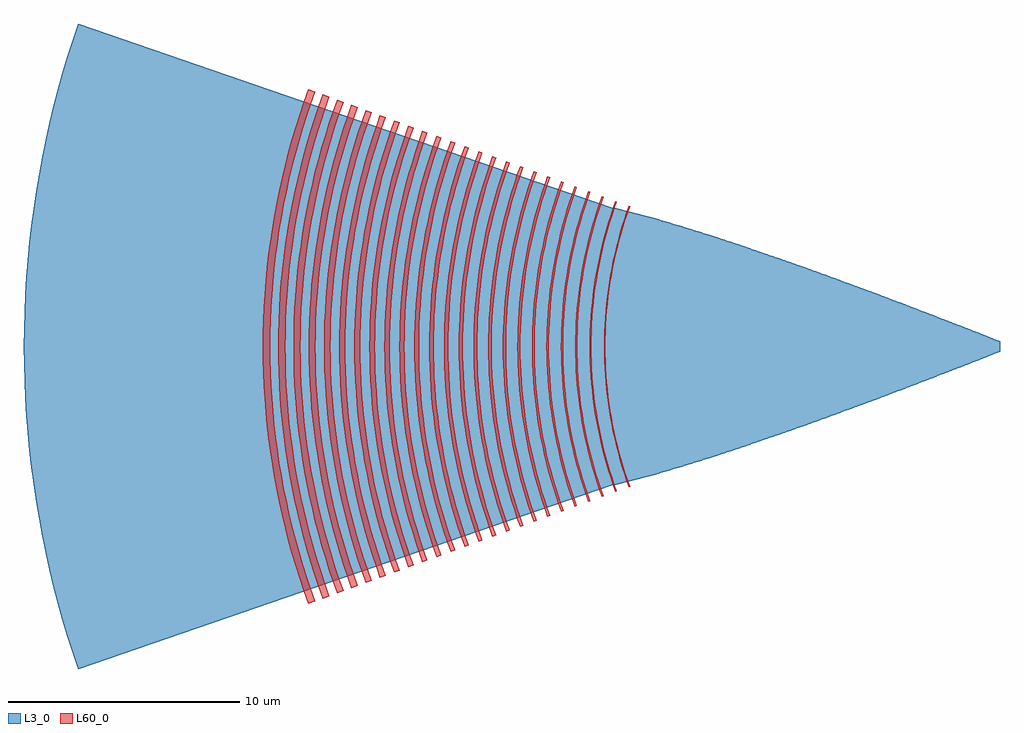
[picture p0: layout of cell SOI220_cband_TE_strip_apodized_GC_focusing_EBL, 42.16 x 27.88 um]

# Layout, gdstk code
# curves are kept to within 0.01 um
import gdstk
lib = gdstk.Library(unit=1e-6, precision=1e-09)
def P(c, l, *ps):  # polygons
    for p in ps: c.add(gdstk.Polygon(p, *l))
L3_0 = (3, 0)
L60_0 = (60, 0)

soi220_cband_te_strip_ap = lib.new_cell('SOI220_cband_TE_strip_apodized_GC_focusing_EBL')
P(soi220_cband_te_strip_ap, L3_0, [(-39.831,-13.94),(-40.293,-12.518),(-40.705,-11.082),(-41.067,-9.632),(-41.377,-8.17),(-41.514,-7.435),(-41.637,-6.698),(-41.845,-5.218),(-42.001,-3.732),(-42.06,-2.987),(-42.138,-1.494),(-42.164,0),(-42.138,1.494),(-42.06,2.987),(-42.001,3.732),(-41.845,5.218),(-41.637,6.698),(-41.514,7.435),(-41.377,8.17),(-41.067,9.632),(-40.705,11.082),(-40.293,12.518),(-39.831,13.94),(-16.745,5.99),(-16.326,5.908),(-15.74,5.764),(-14.065,5.29),(-12.307,4.739),(-9.963,3.952),(-8.121,3.303),(-5.442,2.322),(-2.763,1.305),(0,0.225),(0,-0.225),(-4.521,-1.976),(-6.614,-2.756),(-8.707,-3.512),(-11.386,-4.435),(-13.563,-5.137),(-15.572,-5.72),(-16.326,-5.908),(-16.745,-5.99)])
P(soi220_cband_te_strip_ap, L60_0, [(-16.037,-6.074),(-16.238,-5.489),(-16.502,-4.597),(-16.719,-3.693),(-16.837,-3.084),(-16.975,-2.164),(-17.04,-1.548),(-17.083,-0.929),(-17.107,0),(-17.083,0.929),(-17.04,1.548),(-16.975,2.164),(-16.837,3.084),(-16.719,3.693),(-16.502,4.597),(-16.238,5.489),(-16.037,6.074),(-15.98,6.054),(-16.274,5.175),(-16.444,4.581),(-16.66,3.68),(-16.829,2.769),(-16.915,2.157),(-16.98,1.543),(-17.023,0.926),(-17.047,0),(-17.023,-0.926),(-16.98,-1.543),(-16.915,-2.157),(-16.829,-2.769),(-16.66,-3.68),(-16.444,-4.581),(-16.274,-5.175),(-15.98,-6.054)],
  [(-16.617,-6.285),(-16.826,-5.679),(-17.099,-4.756),(-17.254,-4.134),(-17.446,-3.191),(-17.588,-2.24),(-17.655,-1.602),(-17.7,-0.962),(-17.725,0),(-17.7,0.962),(-17.655,1.602),(-17.588,2.24),(-17.446,3.191),(-17.254,4.134),(-17.099,4.756),(-16.826,5.679),(-16.617,6.285),(-16.55,6.261),(-16.854,5.352),(-17.11,4.429),(-17.318,3.493),(-17.429,2.864),(-17.518,2.231),(-17.584,1.596),(-17.643,0.639),(-17.654,0),(-17.643,-0.639),(-17.584,-1.596),(-17.518,-2.231),(-17.429,-2.864),(-17.318,-3.493),(-17.11,-4.429),(-16.854,-5.352),(-16.55,-6.261)],
  [(-17.2,-6.497),(-17.416,-5.871),(-17.698,-4.917),(-17.859,-4.274),(-18.058,-3.299),(-18.161,-2.644),(-18.274,-1.656),(-18.32,-0.994),(-18.346,0),(-18.32,0.994),(-18.274,1.656),(-18.161,2.644),(-18.058,3.299),(-17.859,4.274),(-17.698,4.917),(-17.416,5.871),(-17.2,6.497),(-17.123,6.47),(-17.437,5.531),(-17.702,4.576),(-17.851,3.933),(-18.031,2.959),(-18.123,2.305),(-18.218,1.32),(-18.252,0.66),(-18.264,0),(-18.252,-0.66),(-18.218,-1.32),(-18.123,-2.305),(-18.031,-2.959),(-17.851,-3.933),(-17.702,-4.576),(-17.437,-5.531),(-17.123,-6.47)],
  [(-17.785,-6.71),(-18.111,-5.737),(-18.3,-5.078),(-18.465,-4.414),(-18.67,-3.407),(-18.777,-2.731),(-18.894,-1.71),(-18.956,-0.685),(-18.968,0),(-18.956,0.685),(-18.894,1.71),(-18.777,2.731),(-18.67,3.407),(-18.465,4.414),(-18.3,5.078),(-18.111,5.737),(-17.785,6.71),(-17.698,6.679),(-18.023,5.71),(-18.211,5.054),(-18.449,4.06),(-18.636,3.055),(-18.73,2.38),(-18.802,1.702),(-18.864,0.682),(-18.876,0),(-18.864,-0.682),(-18.802,-1.702),(-18.73,-2.38),(-18.636,-3.055),(-18.449,-4.06),(-18.211,-5.054),(-18.023,-5.71),(-17.698,-6.679)],
  [(-18.371,-6.924),(-18.601,-6.256),(-18.902,-5.24),(-19.15,-4.209),(-19.284,-3.516),(-19.395,-2.817),(-19.515,-1.764),(-19.58,-0.707),(-19.592,0),(-19.58,0.707),(-19.515,1.764),(-19.395,2.817),(-19.284,3.516),(-19.15,4.209),(-18.902,5.24),(-18.601,6.256),(-18.371,6.924),(-18.274,6.889),(-18.609,5.889),(-18.891,4.873),(-19.049,4.188),(-19.241,3.151),(-19.379,2.105),(-19.44,1.405),(-19.477,0.703),(-19.489,0),(-19.477,-0.703),(-19.44,-1.405),(-19.379,-2.105),(-19.241,-3.151),(-19.049,-4.188),(-18.891,-4.873),(-18.609,-5.889),(-18.274,-6.889)],
  [(-18.958,-7.137),(-19.305,-6.102),(-19.506,-5.401),(-19.761,-4.34),(-19.9,-3.623),(-20.014,-2.905),(-20.138,-1.819),(-20.189,-1.092),(-20.217,0),(-20.189,1.092),(-20.138,1.819),(-20.014,2.905),(-19.9,3.623),(-19.761,4.34),(-19.506,5.401),(-19.305,6.102),(-18.958,7.137),(-18.852,7.099),(-19.197,6.069),(-19.397,5.372),(-19.65,4.316),(-19.848,3.247),(-19.949,2.53),(-20.025,1.809),(-20.076,1.086),(-20.104,0),(-20.076,-1.086),(-20.025,-1.809),(-19.949,-2.53),(-19.848,-3.247),(-19.65,-4.316),(-19.397,-5.372),(-19.197,-6.069),(-18.852,-7.099)],
  [(-19.549,-7.352),(-19.906,-6.285),(-20.113,-5.564),(-20.294,-4.836),(-20.518,-3.734),(-20.636,-2.992),(-20.764,-1.874),(-20.816,-1.125),(-20.845,0),(-20.816,1.125),(-20.764,1.874),(-20.636,2.992),(-20.518,3.734),(-20.375,4.47),(-20.113,5.564),(-19.906,6.285),(-19.549,7.352),(-19.432,7.31),(-19.675,6.605),(-19.993,5.532),(-20.254,4.444),(-20.458,3.344),(-20.562,2.605),(-20.64,1.863),(-20.692,1.119),(-20.721,0),(-20.692,-1.119),(-20.64,-1.863),(-20.562,-2.605),(-20.458,-3.344),(-20.254,-4.444),(-19.993,-5.532),(-19.675,-6.605),(-19.432,-7.31)],
  [(-20.141,-7.567),(-20.392,-6.838),(-20.721,-5.727),(-20.908,-4.977),(-21.139,-3.842),(-21.26,-3.08),(-21.391,-1.929),(-21.462,-0.773),(-21.475,0),(-21.462,0.773),(-21.391,1.929),(-21.26,3.08),(-21.139,3.842),(-20.908,4.977),(-20.721,5.727),(-20.392,6.838),(-20.141,7.567),(-20.014,7.522),(-20.379,6.43),(-20.687,5.321),(-20.936,4.196),(-21.069,3.44),(-21.176,2.68),(-21.256,1.917),(-21.327,0.768),(-21.34,0),(-21.327,-0.768),(-21.256,-1.917),(-21.176,-2.68),(-21.069,-3.44),(-20.936,-4.196),(-20.687,-5.321),(-20.379,-6.43),(-20.014,-7.522)],
  [(-20.735,-7.783),(-21.113,-6.655),(-21.331,-5.891),(-21.61,-4.733),(-21.761,-3.952),(-21.886,-3.167),(-22.02,-1.984),(-22.076,-1.192),(-22.107,0),(-22.076,1.192),(-22.02,1.984),(-21.886,3.167),(-21.761,3.952),(-21.61,4.733),(-21.331,5.891),(-21.113,6.655),(-20.735,7.783),(-20.597,7.734),(-20.973,6.612),(-21.289,5.471),(-21.546,4.315),(-21.683,3.538),(-21.837,2.364),(-21.906,1.577),(-21.947,0.789),(-21.961,0),(-21.947,-0.789),(-21.906,-1.577),(-21.837,-2.364),(-21.683,-3.538),(-21.546,-4.315),(-21.289,-5.471),(-20.973,-6.612),(-20.597,-7.734)],
  [(-21.332,-8.001),(-21.72,-6.84),(-21.945,-6.055),(-22.231,-4.864),(-22.387,-4.062),(-22.568,-2.851),(-22.653,-2.039),(-22.728,-0.816),(-22.742,0),(-22.728,0.816),(-22.653,2.039),(-22.568,2.851),(-22.387,4.062),(-22.231,4.864),(-21.945,6.055),(-21.72,6.84),(-21.332,8.001),(-21.183,7.948),(-21.569,6.794),(-21.894,5.622),(-22.157,4.434),(-22.298,3.635),(-22.411,2.832),(-22.496,2.025),(-22.57,0.811),(-22.584,0),(-22.57,-0.811),(-22.496,-2.025),(-22.411,-2.832),(-22.298,-3.635),(-22.157,-4.434),(-21.894,-5.622),(-21.569,-6.794),(-21.183,-7.948)],
  [(-21.929,-8.217),(-22.202,-7.426),(-22.559,-6.22),(-22.853,-4.996),(-23.012,-4.173),(-23.199,-2.928),(-23.286,-2.095),(-23.345,-1.258),(-23.378,0),(-23.345,1.258),(-23.286,2.095),(-23.199,2.928),(-23.012,4.173),(-22.853,4.996),(-22.559,6.22),(-22.202,7.426),(-21.929,8.217),(-21.77,8.161),(-22.041,7.374),(-22.396,6.176),(-22.688,4.961),(-22.915,3.733),(-23.031,2.908),(-23.151,1.665),(-23.194,0.833),(-23.209,0),(-23.194,-0.833),(-23.151,-1.665),(-23.031,-2.908),(-22.915,-3.733),(-22.688,-4.961),(-22.396,-6.176),(-22.041,-7.374),(-21.77,-8.161)],
  [(-22.529,-8.436),(-22.938,-7.213),(-23.176,-6.385),(-23.477,-5.129),(-23.641,-4.283),(-23.776,-3.433),(-23.922,-2.15),(-24.001,-0.861),(-24.016,0),(-24.001,0.861),(-23.922,2.15),(-23.776,3.433),(-23.641,4.283),(-23.477,5.129),(-23.176,6.385),(-22.938,7.213),(-22.529,8.436),(-22.359,8.376),(-22.766,7.16),(-23.002,6.338),(-23.301,5.092),(-23.534,3.831),(-23.653,2.984),(-23.743,2.134),(-23.821,0.855),(-23.836,0),(-23.821,-0.855),(-23.743,-2.134),(-23.653,-2.984),(-23.534,-3.831),(-23.301,-5.092),(-23.002,-6.338),(-22.766,-7.16),(-22.359,-8.376)],
  [(-23.131,-8.655),(-23.419,-7.821),(-23.794,-6.551),(-24.104,-5.262),(-24.272,-4.395),(-24.469,-3.084),(-24.56,-2.206),(-24.623,-1.325),(-24.657,0),(-24.623,1.325),(-24.56,2.206),(-24.469,3.084),(-24.272,4.395),(-24.104,5.262),(-23.794,6.551),(-23.419,7.821),(-23.131,8.655),(-22.95,8.591),(-23.367,7.344),(-23.719,6.077),(-24.004,4.793),(-24.156,3.929),(-24.278,3.061),(-24.404,1.752),(-24.45,0.877),(-24.465,0),(-24.45,-0.877),(-24.404,-1.752),(-24.278,-3.061),(-24.156,-3.929),(-24.004,-4.793),(-23.719,-6.077),(-23.367,-7.344),(-22.95,-8.591)],
  [(-23.734,-8.875),(-24.029,-8.02),(-24.415,-6.716),(-24.634,-5.838),(-24.905,-4.506),(-25.046,-3.612),(-25.2,-2.262),(-25.264,-1.359),(-25.299,0),(-25.264,1.359),(-25.2,2.262),(-25.046,3.612),(-24.905,4.506),(-24.732,5.396),(-24.415,6.716),(-24.029,8.02),(-23.734,8.875),(-23.543,8.807),(-23.836,7.957),(-24.219,6.664),(-24.533,5.354),(-24.779,4.028),(-24.904,3.138),(-24.998,2.244),(-25.061,1.348),(-25.096,0),(-25.061,-1.348),(-24.998,-2.244),(-24.904,-3.138),(-24.779,-4.028),(-24.533,-5.354),(-24.219,-6.664),(-23.836,-7.957),(-23.543,-8.807)],
  [(-24.341,-9.095),(-24.643,-8.218),(-25.038,-6.884),(-25.263,-5.983),(-25.54,-4.618),(-25.685,-3.702),(-25.843,-2.318),(-25.908,-1.392),(-25.944,0),(-25.908,1.392),(-25.843,2.318),(-25.685,3.702),(-25.54,4.618),(-25.263,5.983),(-25.038,6.884),(-24.643,8.218),(-24.341,9.095),(-24.138,9.023),(-24.438,8.152),(-24.83,6.828),(-25.152,5.485),(-25.404,4.127),(-25.532,3.215),(-25.629,2.299),(-25.693,1.381),(-25.729,0),(-25.693,-1.381),(-25.629,-2.299),(-25.532,-3.215),(-25.404,-4.127),(-25.152,-5.485),(-24.83,-6.828),(-24.438,-8.152),(-24.138,-9.023)],
  [(-24.949,-9.316),(-25.258,-8.419),(-25.662,-7.052),(-25.893,-6.129),(-26.178,-4.73),(-26.388,-3.321),(-26.487,-2.375),(-26.575,-0.951),(-26.591,0),(-26.575,0.951),(-26.487,2.375),(-26.388,3.321),(-26.178,4.73),(-25.893,6.129),(-25.662,7.052),(-25.258,8.419),(-24.949,9.316),(-24.735,9.24),(-25.042,8.349),(-25.443,6.993),(-25.774,5.617),(-26.031,4.226),(-26.163,3.293),(-26.261,2.355),(-26.348,0.943),(-26.364,0),(-26.348,-0.943),(-26.261,-2.355),(-26.163,-3.293),(-26.031,-4.226),(-25.774,-5.617),(-25.443,-6.993),(-25.042,-8.349),(-24.735,-9.24)],
  [(-25.558,-9.538),(-26.022,-8.155),(-26.29,-7.219),(-26.631,-5.8),(-26.816,-4.844),(-26.969,-3.882),(-27.134,-2.431),(-27.202,-1.459),(-27.24,0),(-27.202,1.459),(-27.134,2.431),(-26.969,3.882),(-26.816,4.844),(-26.631,5.8),(-26.29,7.219),(-26.022,8.155),(-25.558,9.538),(-25.333,9.458),(-25.793,8.085),(-26.18,6.69),(-26.397,5.75),(-26.661,4.326),(-26.85,2.891),(-26.934,1.929),(-26.984,0.965),(-27.001,0),(-26.984,-0.965),(-26.934,-1.929),(-26.85,-2.891),(-26.661,-4.326),(-26.397,-5.75),(-26.18,-6.69),(-25.793,-8.085),(-25.333,-9.458)],
  [(-26.171,-9.761),(-26.644,-8.345),(-26.918,-7.388),(-27.268,-5.935),(-27.457,-4.957),(-27.614,-3.973),(-27.782,-2.488),(-27.874,-0.996),(-27.891,0),(-27.874,0.996),(-27.782,2.488),(-27.614,3.973),(-27.457,4.957),(-27.268,5.935),(-26.918,7.388),(-26.644,8.345),(-26.171,9.761),(-25.935,9.677),(-26.405,8.272),(-26.801,6.845),(-27.023,5.883),(-27.293,4.426),(-27.486,2.958),(-27.572,1.974),(-27.624,0.987),(-27.641,0),(-27.624,-0.987),(-27.572,-1.974),(-27.486,-2.958),(-27.293,-4.426),(-27.023,-5.883),(-26.801,-6.845),(-26.405,-8.272),(-25.935,-9.677)],
  [(-26.785,-9.985),(-27.27,-8.537),(-27.55,-7.557),(-27.907,-6.07),(-28.101,-5.071),(-28.327,-3.558),(-28.434,-2.545),(-28.505,-1.527),(-28.545,0),(-28.505,1.527),(-28.434,2.545),(-28.327,3.558),(-28.101,5.071),(-27.907,6.07),(-27.55,7.557),(-27.27,8.537),(-26.785,9.985),(-26.538,9.897),(-27.019,8.46),(-27.297,7.489),(-27.651,6.016),(-27.927,4.527),(-28.067,3.526),(-28.213,2.018),(-28.265,1.01),(-28.283,0),(-28.265,-1.01),(-28.213,-2.018),(-28.067,-3.526),(-27.927,-4.527),(-27.651,-6.016),(-27.297,-7.489),(-27.019,-8.46),(-26.538,-9.897)],
  [(-27.401,-10.209),(-27.897,-8.728),(-28.184,-7.727),(-28.549,-6.207),(-28.748,-5.184),(-28.979,-3.639),(-29.087,-2.602),(-29.183,-1.042),(-29.201,0),(-29.183,1.042),(-29.087,2.602),(-28.979,3.639),(-28.748,5.184),(-28.549,6.207),(-28.184,7.727),(-27.897,8.728),(-27.401,10.209),(-27.142,10.117),(-27.634,8.648),(-27.918,7.656),(-28.28,6.15),(-28.562,4.627),(-28.706,3.605),(-28.854,2.063),(-28.908,1.032),(-28.926,0),(-28.908,-1.032),(-28.854,-2.063),(-28.706,-3.605),(-28.562,-4.627),(-28.28,-6.15),(-27.918,-7.656),(-27.634,-8.648),(-27.142,-10.117)],
  [(-28.021,-10.434),(-28.367,-9.429),(-28.82,-7.898),(-29.194,-6.344),(-29.397,-5.299),(-29.633,-3.719),(-29.744,-2.659),(-29.819,-1.597),(-29.86,0),(-29.819,1.597),(-29.744,2.659),(-29.633,3.719),(-29.397,5.299),(-29.194,6.344),(-28.82,7.898),(-28.367,9.429),(-28.021,10.434),(-27.749,10.338),(-28.251,8.837),(-28.674,7.312),(-29.017,5.767),(-29.278,4.207),(-29.406,3.159),(-29.498,2.108),(-29.554,1.055),(-29.572,0),(-29.554,-1.055),(-29.498,-2.108),(-29.406,-3.159),(-29.278,-4.207),(-29.017,-5.767),(-28.674,-7.312),(-28.251,-8.837),(-27.749,-10.338)],
  [(-28.642,-10.66),(-29.159,-9.115),(-29.459,-8.069),(-29.722,-7.012),(-30.047,-5.413),(-30.218,-4.339),(-30.403,-2.717),(-30.479,-1.632),(-30.521,0),(-30.479,1.632),(-30.403,2.717),(-30.218,4.339),(-30.047,5.413),(-29.722,7.012),(-29.459,8.069),(-29.159,9.115),(-28.642,10.66),(-28.359,10.56),(-28.872,9.027),(-29.304,7.469),(-29.654,5.891),(-29.921,4.297),(-30.052,3.227),(-30.146,2.154),(-30.202,1.077),(-30.221,0),(-30.202,-1.077),(-30.146,-2.154),(-30.052,-3.227),(-29.921,-4.297),(-29.654,-5.891),(-29.304,-7.469),(-28.872,-9.027),(-28.359,-10.56)],
  [(-29.265,-10.887),(-29.793,-9.309),(-30.099,-8.24),(-30.368,-7.161),(-30.599,-6.075),(-30.7,-5.528),(-30.947,-3.88),(-31.063,-2.774),(-31.141,-1.666),(-31.184,0),(-31.141,1.666),(-31.063,2.774),(-30.947,3.88),(-30.7,5.528),(-30.599,6.075),(-30.368,7.161),(-30.099,8.24),(-29.793,9.309),(-29.265,10.887),(-28.97,10.782),(-29.494,9.217),(-29.935,7.626),(-30.292,6.015),(-30.564,4.387),(-30.698,3.295),(-30.794,2.199),(-30.852,1.1),(-30.871,0),(-30.852,-1.1),(-30.794,-2.199),(-30.698,-3.295),(-30.564,-4.387),(-30.292,-6.015),(-29.935,-7.626),(-29.494,-9.217),(-28.97,-10.782)],
  [(-29.889,-11.114),(-30.078,-10.582),(-30.429,-9.503),(-30.742,-8.412),(-31.139,-6.758),(-31.355,-5.643),(-31.533,-4.523),(-31.726,-2.832),(-31.805,-1.701),(-31.849,0),(-31.805,1.701),(-31.726,2.832),(-31.533,4.523),(-31.355,5.643),(-31.139,6.758),(-30.742,8.412),(-30.429,9.503),(-30.078,10.582),(-29.889,11.114),(-29.583,11.005),(-29.771,10.476),(-30.118,9.408),(-30.428,8.328),(-30.568,7.784),(-30.933,6.14),(-31.211,4.478),(-31.348,3.363),(-31.446,2.245),(-31.504,1.123),(-31.524,0),(-31.504,-1.123),(-31.446,-2.245),(-31.348,-3.363),(-31.211,-4.478),(-30.933,-6.14),(-30.568,-7.784),(-30.428,-8.328),(-30.118,-9.408),(-29.771,-10.476),(-29.583,-11.005)])

lib.write_gds('SOI220_cband_TE_strip_apodized_GC_focusing_EBL.gds')
